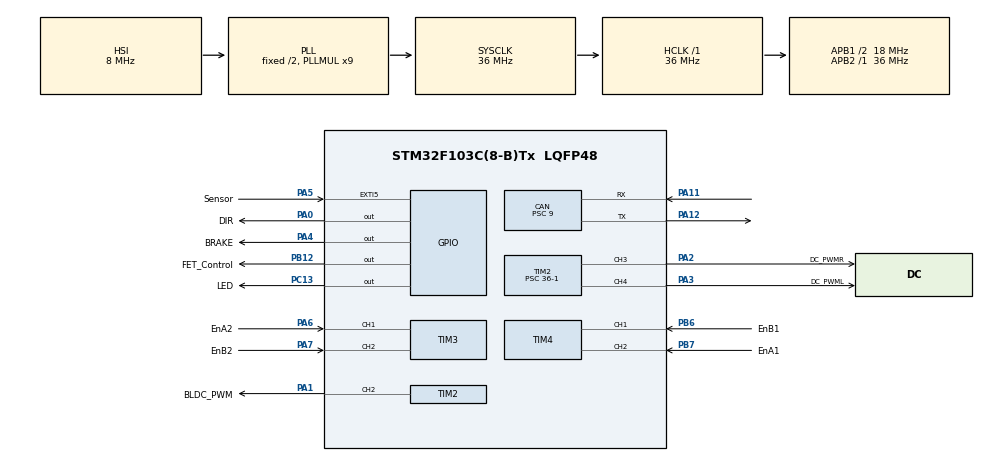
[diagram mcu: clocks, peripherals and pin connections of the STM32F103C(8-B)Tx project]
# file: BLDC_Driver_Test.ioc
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CAN.BS1=CAN_BS1_2TQ
CAN.CalculateBaudRate=500000
CAN.CalculateTimeBit=2000
CAN.CalculateTimeQuantum=500.0
CAN.Mode=CAN_MODE_NORMAL
CAN.Prescaler=9
Mcu.Family=STM32F1
Mcu.Name=STM32F103C(8-B)Tx
Mcu.Package=LQFP48
NVIC.EXTI9_5_IRQn=true\:0\:0\:false\:false\:true\:true\:true\:true
NVIC.PriorityGroup=NVIC_PRIORITYGROUP_4
NVIC.USB_LP_CAN1_RX0_IRQn=true\:0\:0\:false\:false\:true\:true\:true\:true
PA0-WKUP.GPIO_Label=DIR
PA0-WKUP.Signal=GPIO_Output
PA1.GPIO_Label=BLDC_PWM
PA1.Signal=S_TIM2_CH2
PA11.GPIO_PuPd=GPIO_NOPULL
PA11.Mode=CAN_Activate
PA11.Signal=CAN_RX
PA12.Mode=CAN_Activate
PA12.Signal=CAN_TX
PA13.Mode=Serial_Wire
PA13.Signal=SYS_JTMS-SWDIO
PA14.Mode=Serial_Wire
PA14.Signal=SYS_JTCK-SWCLK
PA2.GPIO_Label=DC_PWMR
PA2.Signal=S_TIM2_CH3
PA3.GPIO_Label=DC_PWML
PA3.Signal=S_TIM2_CH4
PA4.GPIO_Label=BRAKE
PA4.Signal=GPIO_Output
PA5.GPIO_Label=Sensor
PA5.GPIO_ModeDefaultEXTI=GPIO_MODE_IT_FALLING
PA5.Signal=GPXTI5
PA6.GPIO_Label=EnA2
PA6.GPIO_PuPd=GPIO_PULLUP
PA6.Signal=S_TIM3_CH1
PA7.GPIO_Label=EnB2
PA7.GPIO_PuPd=GPIO_PULLUP
PA7.Signal=S_TIM3_CH2
PB12.GPIO_Label=FET_Control
PB12.GPIO_PuPd=GPIO_PULLDOWN
PB12.Signal=GPIO_Output
PB6.GPIO_Label=EnB1
PB6.GPIO_PuPd=GPIO_PULLUP
PB6.Signal=S_TIM4_CH1
PB7.GPIO_Label=EnA1
PB7.GPIO_PuPd=GPIO_PULLUP
PB7.Signal=S_TIM4_CH2
PC13-TAMPER-RTC.GPIO_Label=LED
PC13-TAMPER-RTC.Signal=GPIO_Output
ProjectManager.HeapSize=0x200
ProjectManager.StackSize=0x400
ProjectManager.TargetToolchain=STM32CubeIDE
RCC.AHBFreq_Value=36000000
RCC.APB1CLKDivider=RCC_HCLK_DIV2
RCC.APB1Freq_Value=18000000
RCC.APB1TimFreq_Value=36000000
RCC.APB2Freq_Value=36000000
RCC.APB2TimFreq_Value=36000000
RCC.HCLKFreq_Value=36000000
RCC.PLLMUL=RCC_PLL_MUL9
RCC.SYSCLKFreq_VALUE=36000000
RCC.SYSCLKSource=RCC_SYSCLKSOURCE_PLLCLK
RCC.USBFreq_Value=36000000
SH.S_TIM2_CH2.0=TIM2_CH2,PWM Generation2 CH2
SH.S_TIM2_CH3.0=TIM2_CH3,PWM Generation3 CH3
SH.S_TIM2_CH4.0=TIM2_CH4,PWM Generation4 CH4
SH.S_TIM3_CH1.0=TIM3_CH1,Encoder_Interface
SH.S_TIM3_CH2.0=TIM3_CH2,Encoder_Interface
SH.S_TIM4_CH1.0=TIM4_CH1,Encoder_Interface
SH.S_TIM4_CH2.0=TIM4_CH2,Encoder_Interface
TIM2.Channel-PWM\ Generation2\ CH2=TIM_CHANNEL_2
TIM2.Channel-PWM\ Generation3\ CH3=TIM_CHANNEL_3
TIM2.Channel-PWM\ Generation4\ CH4=TIM_CHANNEL_4
TIM2.Period=1000-1
TIM2.Prescaler=36-1
TIM3.EncoderMode=TIM_ENCODERMODE_TI12
TIM3.IC1Polarity=TIM_ICPOLARITY_FALLING
TIM3.IC2Polarity=TIM_ICPOLARITY_FALLING
TIM4.EncoderMode=TIM_ENCODERMODE_TI12
TIM4.IC1Polarity=TIM_ICPOLARITY_FALLING
TIM4.IC2Polarity=TIM_ICPOLARITY_FALLING
VP_TIM2_VS_ClockSourceINT.Mode=Internal
board=custom

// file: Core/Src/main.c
/* USER CODE BEGIN Header */
/**
  ******************************************************************************
  * @file           : main.c
  * @brief          : Main program body
  ******************************************************************************
  * @attention
  *
  * Copyright (c) 2023 STMicroelectronics.
  * All rights reserved.
  *
  * This software is licensed under terms that can be found in the LICENSE file
  * in the root directory of this software component.
  * If no LICENSE file comes with this software, it is provided AS-IS.
  *
  ******************************************************************************
  */
/* USER CODE END Header */
#include "main.h"

CAN_HandleTypeDef hcan;

TIM_HandleTypeDef htim2;
TIM_HandleTypeDef htim3;
TIM_HandleTypeDef htim4;

/* USER CODE BEGIN PV */
CAN_TxHeaderTypeDef TxHeader;
CAN_RxHeaderTypeDef RxHeader;
uint32_t TxMailBox[3];
uint8_t txdata[8];
uint8_t rxdata[8];
uint16_t pwm = 0;
uint16_t pwm1 = 0;
uint16_t pwm2 = 0;
uint8_t dir = 0;
uint8_t brake = 0;
uint8_t ecd1 = 0;
uint8_t ecd2 = 0;
uint8_t pwm_en = 0;
/* USER CODE END PV */

void SystemClock_Config(void);
static void MX_GPIO_Init(void);
static void MX_TIM2_Init(void);
static void MX_TIM3_Init(void);
static void MX_TIM4_Init(void);
static void MX_CAN_Init(void);

/* USER CODE BEGIN 0 */
void CAN_Filter_Config(){
	CAN_FilterTypeDef canfilterconfig;

	canfilterconfig.FilterActivation = CAN_FILTER_ENABLE;
	canfilterconfig.FilterBank = 0;
	canfilterconfig.FilterFIFOAssignment = CAN_FILTER_FIFO0;
	canfilterconfig.FilterIdHigh = 0x100 << 5;
	canfilterconfig.FilterIdLow = 0x0000;
	canfilterconfig.FilterMaskIdHigh = 0x100 << 5;
	canfilterconfig.FilterMaskIdLow = 0x0000;
	canfilterconfig.FilterMode = CAN_FILTERMODE_IDMASK;
	canfilterconfig.FilterScale = CAN_FILTERSCALE_32BIT;
	canfilterconfig.SlaveStartFilterBank = 13;

	HAL_CAN_ConfigFilter(&hcan, &canfilterconfig);
}

void HAL_GPIO_EXTI_Callback(uint16_t GPIO_Pin)
{
	if(GPIO_Pin == Sensor_Pin){
		pwm1 = 0;
		pwm2 = 0;
	}
}

void HAL_CAN_RxFifo0MsgPendingCallback(CAN_HandleTypeDef *hcan){
	if(HAL_CAN_GetRxMessage(hcan, CAN_RX_FIFO0, &RxHeader, rxdata) == HAL_OK){
		HAL_GPIO_TogglePin(LED_GPIO_Port, LED_Pin);
	}
}
/* USER CODE END 0 */

int main(void)
{

  /* MCU Configuration--------------------------------------------------------*/

  /* Reset of all peripherals, Initializes the Flash interface and the Systick. */
  HAL_Init();

  /* Configure the system clock */
  SystemClock_Config();

  /* Initialize all configured peripherals */
  MX_GPIO_Init();
  MX_TIM2_Init();
  MX_TIM3_Init();
  MX_TIM4_Init();
  MX_CAN_Init();
  /* USER CODE BEGIN 2 */

  HAL_CAN_Start(&hcan);
  CAN_Filter_Config();

  HAL_CAN_ActivateNotification(&hcan, CAN_IT_RX_FIFO0_MSG_PENDING);

  HAL_TIM_PWM_Start(&htim2, TIM_CHANNEL_2);
  HAL_TIM_PWM_Start(&htim2, TIM_CHANNEL_3);
  HAL_TIM_PWM_Start(&htim2, TIM_CHANNEL_4);
  HAL_TIM_Encoder_Start(&htim3, TIM_CHANNEL_ALL);
  HAL_TIM_Encoder_Start(&htim4, TIM_CHANNEL_ALL);

  TxHeader.DLC = 8;
  TxHeader.ExtId = 0x00;
  TxHeader.IDE = CAN_ID_STD;
  TxHeader.RTR = CAN_RTR_DATA;
  TxHeader.StdId = 0x103;
  TxHeader.TransmitGlobalTime = DISABLE;

  txdata[0] = 0x01;
  txdata[1] = 0x02;
  txdata[2] = 0x03;
  txdata[3] = 0x04;
  txdata[4] = 0x05;
  txdata[5] = 0x06;
  txdata[6] = 0x07;
  txdata[7] = 0x08;

  /* USER CODE END 2 */

  /* Infinite loop */
  /* USER CODE BEGIN WHILE */
  while (1)
  {
	  HAL_GPIO_WritePin(LED_GPIO_Port, LED_Pin, 0);
	  ecd1 = __HAL_TIM_GET_COUNTER(&htim3);
	  ecd2 = __HAL_TIM_GET_COUNTER(&htim4);
	  __HAL_TIM_SET_COMPARE(&htim2, TIM_CHANNEL_2, pwm);
	  __HAL_TIM_SET_COMPARE(&htim2, TIM_CHANNEL_3, pwm1);
	  __HAL_TIM_SET_COMPARE(&htim2, TIM_CHANNEL_4, pwm2);
	  HAL_GPIO_WritePin(FET_Control_GPIO_Port, FET_Control_Pin, pwm_en);

	  HAL_GPIO_WritePin(DIR_GPIO_Port, DIR_Pin, dir);
	  HAL_GPIO_WritePin(BRAKE_GPIO_Port, BRAKE_Pin, brake);
	  if(HAL_CAN_AddTxMessage(&hcan, &TxHeader, txdata, TxMailBox) == HAL_OK){
		  HAL_GPIO_TogglePin(LED_GPIO_Port, LED_Pin);
		  HAL_Delay(1000);
	  }

    /* USER CODE END WHILE */

  }
}

void SystemClock_Config(void)
{
  RCC_OscInitTypeDef RCC_OscInitStruct = {0};
  RCC_ClkInitTypeDef RCC_ClkInitStruct = {0};

  /** Initializes the RCC Oscillators according to the specified parameters
  * in the RCC_OscInitTypeDef structure.
  */
  RCC_OscInitStruct.OscillatorType = RCC_OSCILLATORTYPE_HSI;
  RCC_OscInitStruct.HSIState = RCC_HSI_ON;
  RCC_OscInitStruct.HSICalibrationValue = RCC_HSICALIBRATION_DEFAULT;
  RCC_OscInitStruct.PLL.PLLState = RCC_PLL_ON;
  RCC_OscInitStruct.PLL.PLLSource = RCC_PLLSOURCE_HSI_DIV2;
  RCC_OscInitStruct.PLL.PLLMUL = RCC_PLL_MUL9;
  if (HAL_RCC_OscConfig(&RCC_OscInitStruct) != HAL_OK)
  {
    Error_Handler();
  }

  /** Initializes the CPU, AHB and APB buses clocks
  */
  RCC_ClkInitStruct.ClockType = RCC_CLOCKTYPE_HCLK|RCC_CLOCKTYPE_SYSCLK
                              |RCC_CLOCKTYPE_PCLK1|RCC_CLOCKTYPE_PCLK2;
  RCC_ClkInitStruct.SYSCLKSource = RCC_SYSCLKSOURCE_PLLCLK;
  RCC_ClkInitStruct.AHBCLKDivider = RCC_SYSCLK_DIV1;
  RCC_ClkInitStruct.APB1CLKDivider = RCC_HCLK_DIV2;
  RCC_ClkInitStruct.APB2CLKDivider = RCC_HCLK_DIV1;

  if (HAL_RCC_ClockConfig(&RCC_ClkInitStruct, FLASH_LATENCY_1) != HAL_OK)
  {
    Error_Handler();
  }
}

static void MX_CAN_Init(void)
{

  hcan.Instance = CAN1;
  hcan.Init.Prescaler = 9;
  hcan.Init.Mode = CAN_MODE_NORMAL;
  hcan.Init.SyncJumpWidth = CAN_SJW_1TQ;
  hcan.Init.TimeSeg1 = CAN_BS1_2TQ;
  hcan.Init.TimeSeg2 = CAN_BS2_1TQ;
  hcan.Init.TimeTriggeredMode = DISABLE;
  hcan.Init.AutoBusOff = DISABLE;
  hcan.Init.AutoWakeUp = DISABLE;
  hcan.Init.AutoRetransmission = DISABLE;
  hcan.Init.ReceiveFifoLocked = DISABLE;
  hcan.Init.TransmitFifoPriority = DISABLE;
  if (HAL_CAN_Init(&hcan) != HAL_OK)
  {
    Error_Handler();
  }

}

static void MX_TIM2_Init(void)
{

  TIM_ClockConfigTypeDef sClockSourceConfig = {0};
  TIM_MasterConfigTypeDef sMasterConfig = {0};
  TIM_OC_InitTypeDef sConfigOC = {0};

  htim2.Instance = TIM2;
  htim2.Init.Prescaler = 36-1;
  htim2.Init.CounterMode = TIM_COUNTERMODE_UP;
  htim2.Init.Period = 1000-1;
  htim2.Init.ClockDivision = TIM_CLOCKDIVISION_DIV1;
  htim2.Init.AutoReloadPreload = TIM_AUTORELOAD_PRELOAD_DISABLE;
  if (HAL_TIM_Base_Init(&htim2) != HAL_OK)
  {
    Error_Handler();
  }
  sClockSourceConfig.ClockSource = TIM_CLOCKSOURCE_INTERNAL;
  if (HAL_TIM_ConfigClockSource(&htim2, &sClockSourceConfig) != HAL_OK)
  {
    Error_Handler();
  }
  if (HAL_TIM_PWM_Init(&htim2) != HAL_OK)
  {
    Error_Handler();
  }
  sMasterConfig.MasterOutputTrigger = TIM_TRGO_RESET;
  sMasterConfig.MasterSlaveMode = TIM_MASTERSLAVEMODE_DISABLE;
  if (HAL_TIMEx_MasterConfigSynchronization(&htim2, &sMasterConfig) != HAL_OK)
  {
    Error_Handler();
  }
  sConfigOC.OCMode = TIM_OCMODE_PWM1;
  sConfigOC.Pulse = 0;
  sConfigOC.OCPolarity = TIM_OCPOLARITY_HIGH;
  sConfigOC.OCFastMode = TIM_OCFAST_DISABLE;
  if (HAL_TIM_PWM_ConfigChannel(&htim2, &sConfigOC, TIM_CHANNEL_2) != HAL_OK)
  {
    Error_Handler();
  }
  if (HAL_TIM_PWM_ConfigChannel(&htim2, &sConfigOC, TIM_CHANNEL_3) != HAL_OK)
  {
    Error_Handler();
  }
  if (HAL_TIM_PWM_ConfigChannel(&htim2, &sConfigOC, TIM_CHANNEL_4) != HAL_OK)
  {
    Error_Handler();
  }
  HAL_TIM_MspPostInit(&htim2);

}

static void MX_TIM3_Init(void)
{

  TIM_Encoder_InitTypeDef sConfig = {0};
  TIM_MasterConfigTypeDef sMasterConfig = {0};

  htim3.Instance = TIM3;
  htim3.Init.Prescaler = 0;
  htim3.Init.CounterMode = TIM_COUNTERMODE_UP;
  htim3.Init.Period = 65535;
  htim3.Init.ClockDivision = TIM_CLOCKDIVISION_DIV1;
  htim3.Init.AutoReloadPreload = TIM_AUTORELOAD_PRELOAD_DISABLE;
  sConfig.EncoderMode = TIM_ENCODERMODE_TI12;
  sConfig.IC1Polarity = TIM_ICPOLARITY_FALLING;
  sConfig.IC1Selection = TIM_ICSELECTION_DIRECTTI;
  sConfig.IC1Prescaler = TIM_ICPSC_DIV1;
  sConfig.IC1Filter = 0;
  sConfig.IC2Polarity = TIM_ICPOLARITY_FALLING;
  sConfig.IC2Selection = TIM_ICSELECTION_DIRECTTI;
  sConfig.IC2Prescaler = TIM_ICPSC_DIV1;
  sConfig.IC2Filter = 0;
  if (HAL_TIM_Encoder_Init(&htim3, &sConfig) != HAL_OK)
  {
    Error_Handler();
  }
  sMasterConfig.MasterOutputTrigger = TIM_TRGO_RESET;
  sMasterConfig.MasterSlaveMode = TIM_MASTERSLAVEMODE_DISABLE;
  if (HAL_TIMEx_MasterConfigSynchronization(&htim3, &sMasterConfig) != HAL_OK)
  {
    Error_Handler();
  }

}

static void MX_TIM4_Init(void)
{

  TIM_Encoder_InitTypeDef sConfig = {0};
  TIM_MasterConfigTypeDef sMasterConfig = {0};

  htim4.Instance = TIM4;
  htim4.Init.Prescaler = 0;
  htim4.Init.CounterMode = TIM_COUNTERMODE_UP;
  htim4.Init.Period = 65535;
  htim4.Init.ClockDivision = TIM_CLOCKDIVISION_DIV1;
  htim4.Init.AutoReloadPreload = TIM_AUTORELOAD_PRELOAD_DISABLE;
  sConfig.EncoderMode = TIM_ENCODERMODE_TI12;
  sConfig.IC1Polarity = TIM_ICPOLARITY_FALLING;
  sConfig.IC1Selection = TIM_ICSELECTION_DIRECTTI;
  sConfig.IC1Prescaler = TIM_ICPSC_DIV1;
  sConfig.IC1Filter = 0;
  sConfig.IC2Polarity = TIM_ICPOLARITY_FALLING;
  sConfig.IC2Selection = TIM_ICSELECTION_DIRECTTI;
  sConfig.IC2Prescaler = TIM_ICPSC_DIV1;
  sConfig.IC2Filter = 0;
  if (HAL_TIM_Encoder_Init(&htim4, &sConfig) != HAL_OK)
  {
    Error_Handler();
  }
  sMasterConfig.MasterOutputTrigger = TIM_TRGO_RESET;
  sMasterConfig.MasterSlaveMode = TIM_MASTERSLAVEMODE_DISABLE;
  if (HAL_TIMEx_MasterConfigSynchronization(&htim4, &sMasterConfig) != HAL_OK)
  {
    Error_Handler();
  }

}

static void MX_GPIO_Init(void)
{
  GPIO_InitTypeDef GPIO_InitStruct = {0};

  /* GPIO Ports Clock Enable */
  __HAL_RCC_GPIOC_CLK_ENABLE();
  __HAL_RCC_GPIOA_CLK_ENABLE();
  __HAL_RCC_GPIOB_CLK_ENABLE();

  /*Configure GPIO pin Output Level */
  HAL_GPIO_WritePin(LED_GPIO_Port, LED_Pin, GPIO_PIN_RESET);

  /*Configure GPIO pin Output Level */
  HAL_GPIO_WritePin(GPIOA, DIR_Pin|BRAKE_Pin, GPIO_PIN_RESET);

  /*Configure GPIO pin Output Level */
  HAL_GPIO_WritePin(FET_Control_GPIO_Port, FET_Control_Pin, GPIO_PIN_RESET);

  /*Configure GPIO pin : LED_Pin */
  GPIO_InitStruct.Pin = LED_Pin;
  GPIO_InitStruct.Mode = GPIO_MODE_OUTPUT_PP;
  GPIO_InitStruct.Pull = GPIO_NOPULL;
  GPIO_InitStruct.Speed = GPIO_SPEED_FREQ_LOW;
  HAL_GPIO_Init(LED_GPIO_Port, &GPIO_InitStruct);

  /*Configure GPIO pins : DIR_Pin BRAKE_Pin */
  GPIO_InitStruct.Pin = DIR_Pin|BRAKE_Pin;
  GPIO_InitStruct.Mode = GPIO_MODE_OUTPUT_PP;
  GPIO_InitStruct.Pull = GPIO_NOPULL;
  GPIO_InitStruct.Speed = GPIO_SPEED_FREQ_LOW;
  HAL_GPIO_Init(GPIOA, &GPIO_InitStruct);

  /*Configure GPIO pin : Sensor_Pin */
  GPIO_InitStruct.Pin = Sensor_Pin;
  GPIO_InitStruct.Mode = GPIO_MODE_IT_FALLING;
  GPIO_InitStruct.Pull = GPIO_NOPULL;
  HAL_GPIO_Init(Sensor_GPIO_Port, &GPIO_InitStruct);

  /*Configure GPIO pin : FET_Control_Pin */
  GPIO_InitStruct.Pin = FET_Control_Pin;
  GPIO_InitStruct.Mode = GPIO_MODE_OUTPUT_PP;
  GPIO_InitStruct.Pull = GPIO_PULLDOWN;
  GPIO_InitStruct.Speed = GPIO_SPEED_FREQ_LOW;
  HAL_GPIO_Init(FET_Control_GPIO_Port, &GPIO_InitStruct);

  /* EXTI interrupt init*/
  HAL_NVIC_SetPriority(EXTI9_5_IRQn, 0, 0);
  HAL_NVIC_EnableIRQ(EXTI9_5_IRQn);

}

void Error_Handler(void)
{
  __disable_irq();
  while (1)
  {
  }
}
